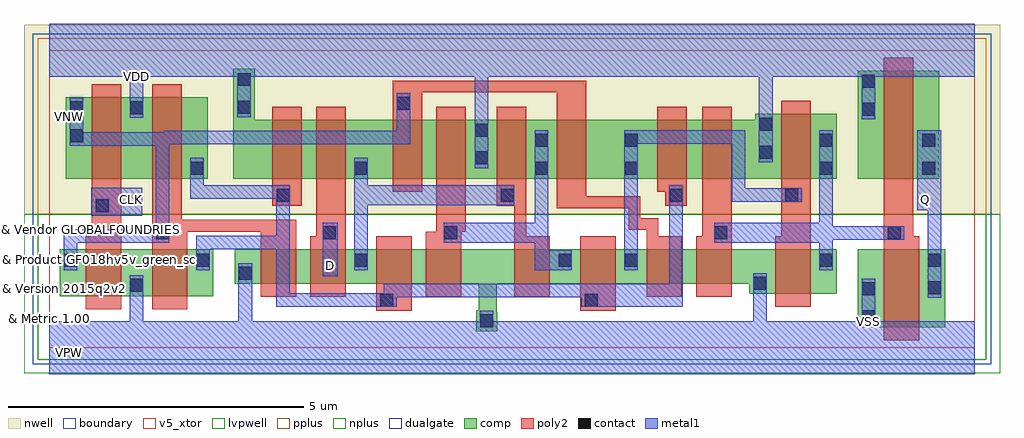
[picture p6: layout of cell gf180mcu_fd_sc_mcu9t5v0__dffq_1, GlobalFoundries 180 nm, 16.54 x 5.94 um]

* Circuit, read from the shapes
.subckt gf180mcu_fd_sc_mcu9t5v0__dffq_1 CLK D Q VDD VNW VSS
XM1 VSS CLK n1 VSUBS nfet_05v0 w=0.79u l=0.6u
XM2 n2 n1 VSS VSUBS nfet_05v0 w=0.79u l=0.6u
XM3 n3 n1 VSS VSUBS nfet_05v0 w=0.58u l=0.6u
XM4 n4 D n3 VSUBS nfet_05v0 w=0.58u l=0.6u
XM5 n5 n2 n4 VSUBS nfet_05v0 w=0.58u l=0.6u
XM6 VSS n6 n5 VSUBS nfet_05v0 w=0.58u l=0.6u
XM7 n6 n4 VSS VSUBS nfet_05v0 w=0.58u l=0.6u
XM8 n7 n2 n6 VSUBS nfet_05v0 w=0.58u l=0.6u
XM9 n8 n1 n7 VSUBS nfet_05v0 w=0.58u l=0.6u
XM10 VSS n9 n8 VSUBS nfet_05v0 w=0.58u l=0.6u
XM11 n9 n7 VSS VSUBS nfet_05v0 w=0.75u l=0.6u
XM12 Q n9 VSS VSUBS nfet_05v0 w=1.32u l=0.6u
XM13 VDD CLK n1 VNW pfet_05v0 w=1.38u l=0.5u
XM14 n2 n1 VDD VNW pfet_05v0 w=1.38u l=0.5u
XM15 n10 n2 VDD VNW pfet_05v0 w=1u l=0.5u
XM16 n4 D n10 VNW pfet_05v0 w=1u l=0.5u
XM17 n11 n1 n4 VNW pfet_05v0 w=1u l=0.5u
XM18 VDD n6 n11 VNW pfet_05v0 w=1u l=0.5u
XM19 n6 n4 VDD VNW pfet_05v0 w=1u l=0.5u
XM20 n7 n1 n6 VNW pfet_05v0 w=1u l=0.5u
XM21 n12 n2 n7 VNW pfet_05v0 w=1u l=0.5u
XM22 VDD n9 n12 VNW pfet_05v0 w=1u l=0.5u
XM23 n9 n7 VDD VNW pfet_05v0 w=1.1u l=0.5u
XM24 Q n9 VDD VNW pfet_05v0 w=1.83u l=0.5u
.ends

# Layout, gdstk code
import gdstk
lib = gdstk.Library(unit=1e-6, precision=5e-10)
def R(c, l, rs):  # rectangles x0, y0, x1, y1
    for r in rs: c.add(gdstk.rectangle(r[:2], r[2:], *l))
def P(c, l, *ps):  # polygons
    for p in ps: c.add(gdstk.Polygon(p, *l))
boundary = (0, 0)
nwell = (21, 0)
comp = (22, 0)
poly2 = (30, 0)
pplus = (31, 0)
nplus = (32, 0)
contact = (33, 0)
metal1 = (34, 0)
dualgate = (55, 0)
v5_xtor = (112, 1)
lvpwell = (204, 0)

gf180mcu_fd_sc_mcu9t5v0_ = lib.new_cell('gf180mcu_fd_sc_mcu9t5v0__dffq_1')
R(gf180mcu_fd_sc_mcu9t5v0_, boundary, [(0,0,15.68,5.04)])
R(gf180mcu_fd_sc_mcu9t5v0_, nwell, [(-0.43,2.265,16.11,5.47)])
R(gf180mcu_fd_sc_mcu9t5v0_, comp, [(13.7,0.345,15.18,1.665), (0.18,0.875,2.78,1.665), (0.28,2.865,2.68,4.245), (13.7,2.865,15.08,4.695)])
P(gf180mcu_fd_sc_mcu9t5v0_, comp, [(7.23,0.275),(7.23,0.635),(7.28,0.635),(7.28,1.085),(3.14,1.085),(3.14,1.665),(13.34,1.665),(13.34,0.915),(11.86,0.915),(11.86,1.085),(7.58,1.085),(7.58,0.605),(7.59,0.605),(7.59,0.275)],
  [(3.12,2.865),(3.12,4.725),(3.48,4.725),(3.48,3.865),(11.96,3.865),(11.96,3.965),(13.34,3.965),(13.34,2.865)])
R(gf180mcu_fd_sc_mcu9t5v0_, poly2, [(5.54,0.625,6.14,1.885), (9,0.625,9.6,1.885), (3.78,2.405,4.28,4.085)])
P(gf180mcu_fd_sc_mcu9t5v0_, poly2, [(0.62,0.655),(0.62,1.885),(0.72,1.885),(0.72,4.465),(1.22,4.465),(1.22,0.655)],
  [(1.74,0.655),(1.74,4.465),(2.24,4.465),(2.24,2.165),(4.18,2.165),(4.18,0.865),(3.58,0.865),(3.58,1.965),(2.34,1.965),(2.34,0.655)],
  [(4.42,0.865),(4.42,1.885),(4.52,1.885),(4.52,4.085),(5.02,4.085),(5.02,0.865)],
  [(6.38,0.865),(6.38,1.965),(6.56,1.965),(6.56,4.085),(7.06,4.085),(7.06,1.965),(6.98,1.965),(6.98,0.865)],
  [(7.88,0.865),(7.88,2.405),(7.58,2.405),(7.58,4.085),(8.08,4.085),(8.08,1.885),(8.48,1.885),(8.48,0.865)],
  [(10.12,0.865),(10.12,1.995),(9.815,1.995),(9.815,2.365),(8.6,2.365),(8.6,4.325),(6.32,4.325),(6.32,2.645),(5.82,2.645),(5.82,4.525),(9.1,4.525),(9.1,2.565),(10.015,2.565),(10.015,2.195),(10.32,2.195),(10.32,1.885),(10.72,1.885),(10.72,0.865)],
  [(10.44,2.405),(10.44,2.645),(10.3,2.645),(10.3,4.085),(10.8,4.085),(10.8,2.405)],
  [(10.96,0.865),(10.96,1.885),(11.06,1.885),(11.06,4.085),(11.56,4.085),(11.56,0.865)],
  [(12.3,0.695),(12.3,1.885),(12.4,1.885),(12.4,4.185),(12.9,4.185),(12.9,0.695)],
  [(14.14,0.125),(14.14,4.915),(14.64,4.915),(14.64,1.885),(14.74,1.885),(14.74,0.125)])
R(gf180mcu_fd_sc_mcu9t5v0_, pplus, [(-0.2,2.265,15.88,5.24)])
R(gf180mcu_fd_sc_mcu9t5v0_, nplus, [(-0.2,-0.2,15.88,2.265)])
R(gf180mcu_fd_sc_mcu9t5v0_, contact, [(7.3,0.345,7.52,0.565), (13.77,0.415,13.99,0.635), (5.61,0.695,5.83,0.915), (9.07,0.695,9.29,0.915), (13.77,0.885,13.99,1.105), (14.89,0.905,15.11,1.125), (1.37,0.945,1.59,1.165), (11.93,0.985,12.15,1.205), (3.21,1.155,3.43,1.375), (0.25,1.375,0.47,1.595), (2.49,1.375,2.71,1.595), (5.17,1.375,5.39,1.595), (8.63,1.375,8.85,1.595), (9.75,1.375,9.97,1.595), (13.05,1.375,13.27,1.595), (14.89,1.375,15.11,1.595), (1.81,1.835,2.03,2.055), (4.635,1.835,4.855,2.055), (6.69,1.835,6.91,2.055), (11.27,1.835,11.49,2.055), (14.21,1.835,14.43,2.055), (0.79,2.295,1.01,2.515), (3.85,2.475,4.07,2.695), (7.65,2.475,7.87,2.695), (10.51,2.475,10.73,2.695), (12.47,2.475,12.69,2.695), (2.39,2.935,2.61,3.155), (5.17,2.935,5.39,3.155), (8.23,2.935,8.45,3.155), (9.75,2.935,9.97,3.155), (13.05,2.935,13.27,3.155), (14.79,2.935,15.01,3.155), (7.21,3.105,7.43,3.325), (12.03,3.205,12.25,3.425), (8.23,3.405,8.45,3.625), (9.75,3.405,9.97,3.625), (13.05,3.405,13.27,3.625), (14.79,3.405,15.01,3.625), (0.35,3.485,0.57,3.705), (7.21,3.575,7.43,3.795), (12.03,3.675,12.25,3.895), (13.77,3.935,13.99,4.155), (0.35,3.955,0.57,4.175), (1.37,3.955,1.59,4.175), (3.19,3.965,3.41,4.185), (5.89,4.035,6.11,4.255), (13.77,4.405,13.99,4.625), (3.19,4.435,3.41,4.655)])
R(gf180mcu_fd_sc_mcu9t5v0_, metal1, [(4.63,1.21,4.89,2.115), (0.71,2.235,1.575,2.71)])
P(gf180mcu_fd_sc_mcu9t5v0_, metal1, [(0.245,1.315),(0.245,2.005),(1.805,2.005),(1.805,3.425),(0.345,3.425),(0.345,4.235),(0.575,4.235),(0.575,3.655),(1.94,3.655),(1.94,3.675),(5.885,3.675),(5.885,4.315),(6.115,4.315),(6.115,3.445),(2.035,3.445),(2.035,1.775),(0.475,1.775),(0.475,1.315)],
  [(5.165,1.315),(5.165,3.215),(5.395,3.215),(5.395,2.755),(7.875,2.755),(7.875,2.415),(5.395,2.415),(5.395,1.315)],
  [(8.225,1.315),(8.225,1.775),(6.685,1.775),(6.685,2.115),(8.225,2.115),(8.225,3.685),(8.455,3.685),(8.455,1.655),(8.855,1.655),(8.855,1.315)],
  [(3.845,0.69),(3.845,1.665),(2.715,1.665),(2.715,1.315),(2.485,1.315),(2.485,1.895),(3.845,1.895),(3.845,2.525),(2.385,2.525),(2.385,3.215),(2.615,3.215),(2.615,2.755),(4.075,2.755),(4.075,0.92),(5.665,0.92),(5.665,1.085),(10.505,1.085),(10.505,2.755),(10.735,2.755),(10.735,0.69),(9.01,0.69),(9.01,0.855),(5.89,0.855),(5.89,0.69)],
  [(9.745,1.315),(9.745,3.685),(11.795,3.685),(11.795,2.7),(12.75,2.7),(12.75,2.47),(11.565,2.47),(11.565,3.455),(9.975,3.455),(9.975,1.315)],
  [(13.045,1.315),(13.045,1.775),(11.265,1.775),(11.265,2.115),(13.045,2.115),(13.045,3.685),(13.275,3.685),(13.275,2.06),(14.49,2.06),(14.49,1.83),(13.275,1.83),(13.275,1.315)],
  [(14.885,0.845),(14.885,2.33),(14.71,2.33),(14.71,3.685),(15.115,3.685),(15.115,0.845)],
  [(0,-0.45),(0,0.45),(1.365,0.45),(1.365,1.225),(1.595,1.225),(1.595,0.45),(3.205,0.45),(3.205,1.435),(3.435,1.435),(3.435,0.45),(7.295,0.45),(7.295,0.625),(7.525,0.625),(7.525,0.45),(11.925,0.45),(11.925,1.265),(12.155,1.265),(12.155,0.45),(13.765,0.45),(13.765,1.165),(13.995,1.165),(13.995,0.45),(15.68,0.45),(15.68,-0.45)],
  [(7.205,3.045),(7.205,4.59),(3.415,4.59),(3.415,3.905),(3.185,3.905),(3.185,4.59),(1.595,4.59),(1.595,3.895),(1.365,3.895),(1.365,4.59),(0,4.59),(0,5.49),(15.68,5.49),(15.68,4.59),(13.995,4.59),(13.995,3.875),(13.765,3.875),(13.765,4.59),(12.255,4.59),(12.255,3.145),(12.025,3.145),(12.025,4.59),(7.435,4.59),(7.435,3.045)])
R(gf180mcu_fd_sc_mcu9t5v0_, dualgate, [(-0.28,-0.28,15.96,5.32)])
R(gf180mcu_fd_sc_mcu9t5v0_, v5_xtor, [(0,0,15.68,5.04)])
R(gf180mcu_fd_sc_mcu9t5v0_, lvpwell, [(-0.43,-0.43,16.11,2.265)])
gf180mcu_fd_sc_mcu9t5v0_.add(gdstk.Label('CLK', (1.4,2.52), layer=34, texttype=10))
gf180mcu_fd_sc_mcu9t5v0_.add(gdstk.Label('D', (4.76,1.4), layer=34, texttype=10))
gf180mcu_fd_sc_mcu9t5v0_.add(gdstk.Label('Q', (14.84,2.52), layer=34, texttype=10))
gf180mcu_fd_sc_mcu9t5v0_.add(gdstk.Label('VDD', (1.48,4.59), layer=34, texttype=10))
gf180mcu_fd_sc_mcu9t5v0_.add(gdstk.Label('VSS', (13.88,0.45), layer=34, texttype=10))
gf180mcu_fd_sc_mcu9t5v0_.add(gdstk.Label('& Vendor GLOBALFOUNDRIES', (0,2), layer=63, texttype=63))
gf180mcu_fd_sc_mcu9t5v0_.add(gdstk.Label('& Product GF018hv5v_green_sc9', (0,1.5), layer=63, texttype=63))
gf180mcu_fd_sc_mcu9t5v0_.add(gdstk.Label('& Version 2015q2v2', (0,1), layer=63, texttype=63))
gf180mcu_fd_sc_mcu9t5v0_.add(gdstk.Label('& Metric 1.00', (0,0.5), layer=63, texttype=63))
gf180mcu_fd_sc_mcu9t5v0_.add(gdstk.Label('VNW', (0.345,3.92), layer=21, texttype=10))
gf180mcu_fd_sc_mcu9t5v0_.add(gdstk.Label('VPW', (0.34,-0.085), layer=204, texttype=10))

lib.write_gds('gf180mcu_fd_sc_mcu9t5v0__dffq_1.gds')
